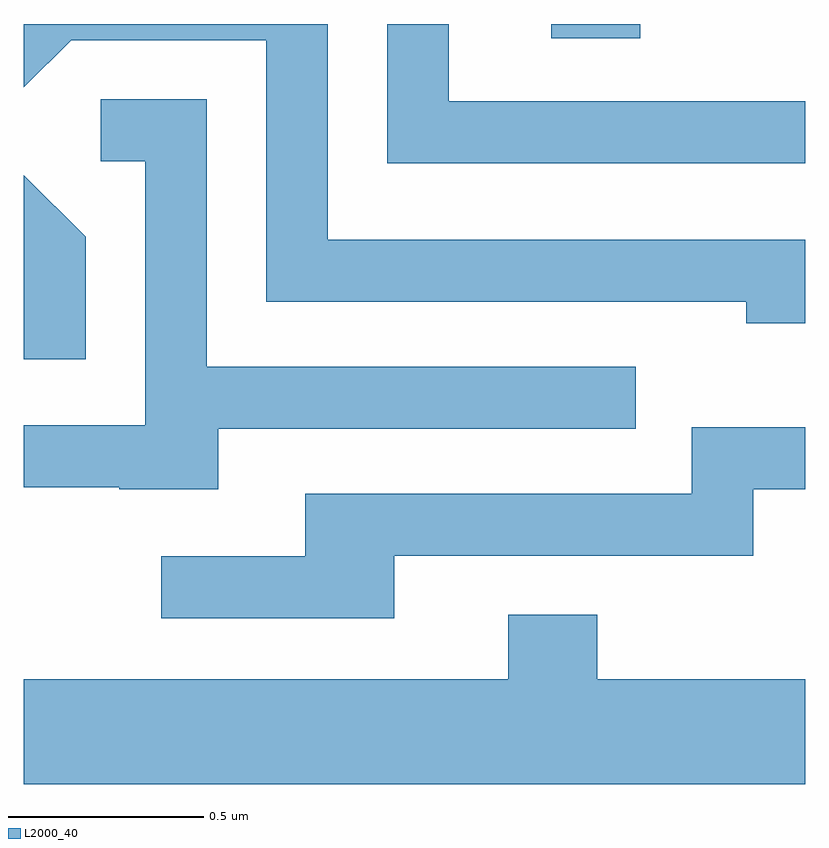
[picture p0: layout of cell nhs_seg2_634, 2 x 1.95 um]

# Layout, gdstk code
import gdstk
lib = gdstk.Library(unit=1e-6, precision=1e-09)
def R(c, l, rs):  # rectangles x0, y0, x1, y1
    for r in rs: c.add(gdstk.rectangle(r[:2], r[2:], *l))
def P(c, l, *ps):  # polygons
    for p in ps: c.add(gdstk.Polygon(p, *l))
L2000_40 = (2000, 40)

nhs_seg2_634 = lib.new_cell('nhs_seg2_634')
R(nhs_seg2_634, L2000_40, [(190.961,1065.766,191.189,1065.802)])
P(nhs_seg2_634, L2000_40, [(191.611,1065.249),(190.389,1065.249),(190.389,1065.802),(189.611,1065.802),(189.611,1065.64),(189.732,1065.761),(190.231,1065.761),(190.231,1065.091),(191.461,1065.091),(191.461,1065.036),(191.611,1065.036)],
  [(191.611,1065.604),(190.699,1065.604),(190.699,1065.802),(190.541,1065.802),(190.541,1065.446),(191.611,1065.446)],
  [(190.109,1064.766),(191.178,1064.766),(191.178,1064.924),(190.079,1064.924),(190.079,1065.609),(189.808,1065.609),(189.808,1065.451),(189.921,1065.451),(189.921,1064.774),(189.611,1064.774),(189.611,1064.616),(189.855,1064.616),(189.855,1064.611),(190.109,1064.611)],
  [(189.769,1065.257),(189.611,1065.415),(189.611,1064.943),(189.769,1064.943)],
  [(190.559,1064.441),(191.479,1064.441),(191.479,1064.611),(191.611,1064.611),(191.611,1064.769),(191.321,1064.769),(191.321,1064.599),(190.331,1064.599),(190.331,1064.439),(189.963,1064.439),(189.963,1064.281),(190.559,1064.281)],
  [(191.611,1064.124),(191.079,1064.124),(191.079,1064.289),(190.851,1064.289),(190.851,1064.124),(189.611,1064.124),(189.611,1063.856),(191.611,1063.856)])

lib.write_gds('nhs_seg2_634.gds')
